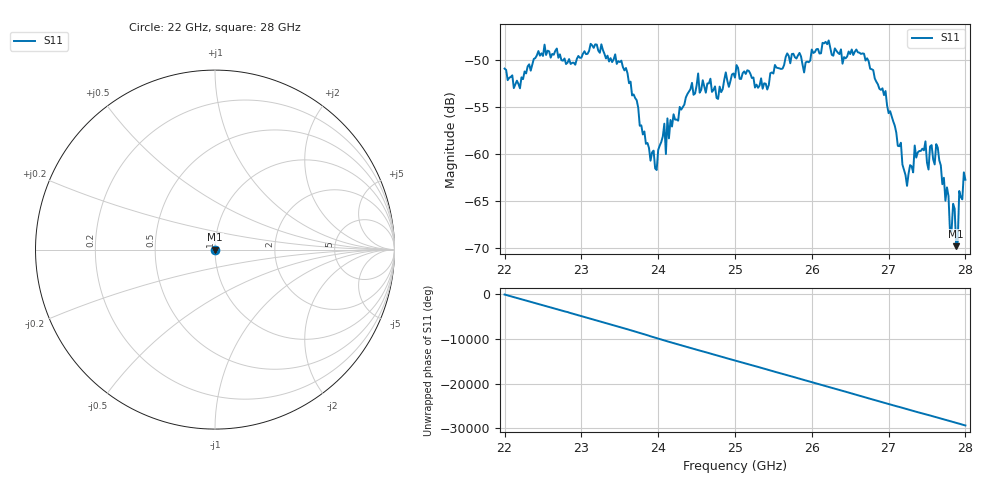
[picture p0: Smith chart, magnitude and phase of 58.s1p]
#  HZ  S  RI  R  50.00
! Rohde & Schwarz ZVA40 4Ports - Version 3.90 - 1145.1110k42 SN: 100403
! Date: 2023-10-04 08:54:14
! Measurement: S12
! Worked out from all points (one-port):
!   301 points, 22 GHz to 28 GHz, reference 50 ohm
!   lowest |S11| = -69.8 dB at 27.88 GHz (marker M1), VSWR 1.00, Z = 50 + j0.00441 ohm
!   |S11| at or under -10 dB: start of sweep to end of sweep
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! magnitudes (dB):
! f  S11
! 22 GHz  -51.0
! 22.2 GHz  -53.0
! 22.52 GHz  -48.4
! 22.76 GHz  -50.1
! 23.5 GHz  -50.3
! 23.98 GHz  -61.7
! 24.08 GHz  -56.8
! 24.1 GHz  -60.0
! 24.12 GHz  -56.2
! 24.26 GHz  -56.5
! 24.52 GHz  -51.5
! 24.78 GHz  -54.2
! 25 GHz  -51.9
! 25.42 GHz  -53.2
! 25.76 GHz  -49.4
! 26.5 GHz  -49.4
! 26.96 GHz  -53.3
! 27.26 GHz  -62.1
! 27.34 GHz  -59.1
! 27.52 GHz  -61.7
! 27.62 GHz  -59.0
! 27.78 GHz  -64.5
! 27.8 GHz  -68.4
! 27.86 GHz  -65.8
! 27.88 GHz  -69.8
! 27.9 GHz  -69.4
! 27.92 GHz  -64.0
! 28 GHz  -62.8
